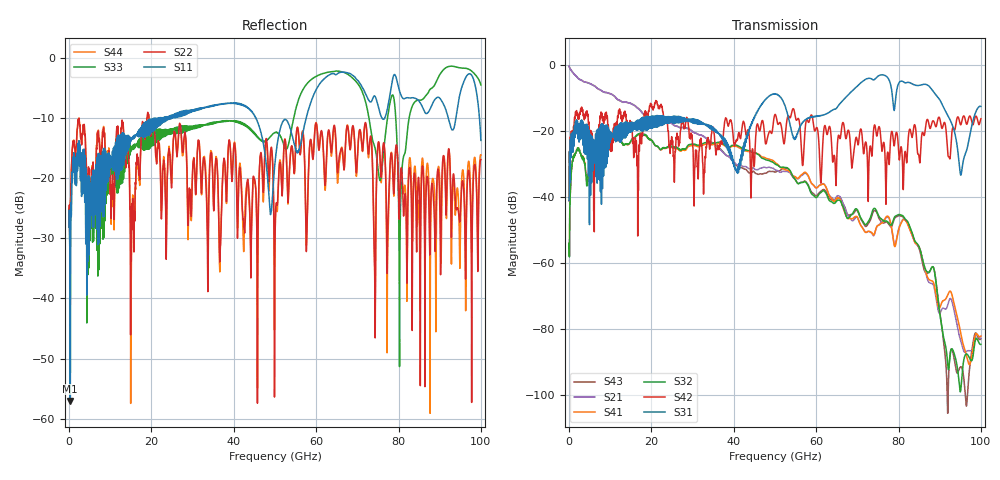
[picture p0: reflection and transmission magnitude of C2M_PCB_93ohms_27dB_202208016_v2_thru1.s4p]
! Info: Touchstone file created by Circ.  Input file=Intel_C2M_200G_11p5in_202208016_staggered.circ
# Hz S RI R 50
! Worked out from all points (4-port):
!   10000 points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, 10 MHz to 100 GHz, reference 50 ohm
!   strongest paths, dB at 10 MHz, 25.01 GHz, 50.01 GHz, 75.01 GHz, 100 GHz:
!     S31: -41.1, -16.9, -8.7, -3.4, -12.5
!     S42: -41.1, -23.5, -15.0, -19.7, -16.3
!     S32: -55.3, -24.8, -29.9, -45.2, -84.5
!     S41: -55.3, -25.0, -29.5, -48.5, -82.0
!     S21: -0.3, -17.8, -31.7, -48.6, -82.8
!     S43: -0.3, -17.7, -32.4, -45.6, -82.8
!   lowest |S11| = -57.0 dB at 300 MHz (marker M1), VSWR 1.00, Z = 50.1 + j0.108 ohm
!   |S11| at or under -10 dB: start of sweep to 21.86 GHz; 45.36 GHz to 57.59 GHz (12.24 GHz wide, 23.8 % of centre); 92.07 GHz to 93.94 GHz (1.869 GHz wide, 2.01 % of centre)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
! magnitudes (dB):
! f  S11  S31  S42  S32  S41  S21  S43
! 10 MHz  -28.2  -41.1  -41.1  -55.3  -55.3  -0.3  -0.3
! 300 MHz  -57.0  -22.6  -21.9  -38.5  -38.5  -1.2  -1.2
! 40.85 GHz  -7.7  -32.2  -22.6  -24.3  -24.7  -30.2  -30.6
! 78.53 GHz  -3.7  -9.6  -20.6  -47.7  -50.9  -51.0  -48.3
! 80.35 GHz  -5.8  -5.0  -27.0  -45.3  -48.6  -48.4  -45.6
! 95.17 GHz  -5.4  -33.3  -18.0  -97.6  -81.5  -83.7  -91.3
! 100 GHz  -13.8  -12.5  -16.3  -84.5  -82.0  -82.8  -82.8
